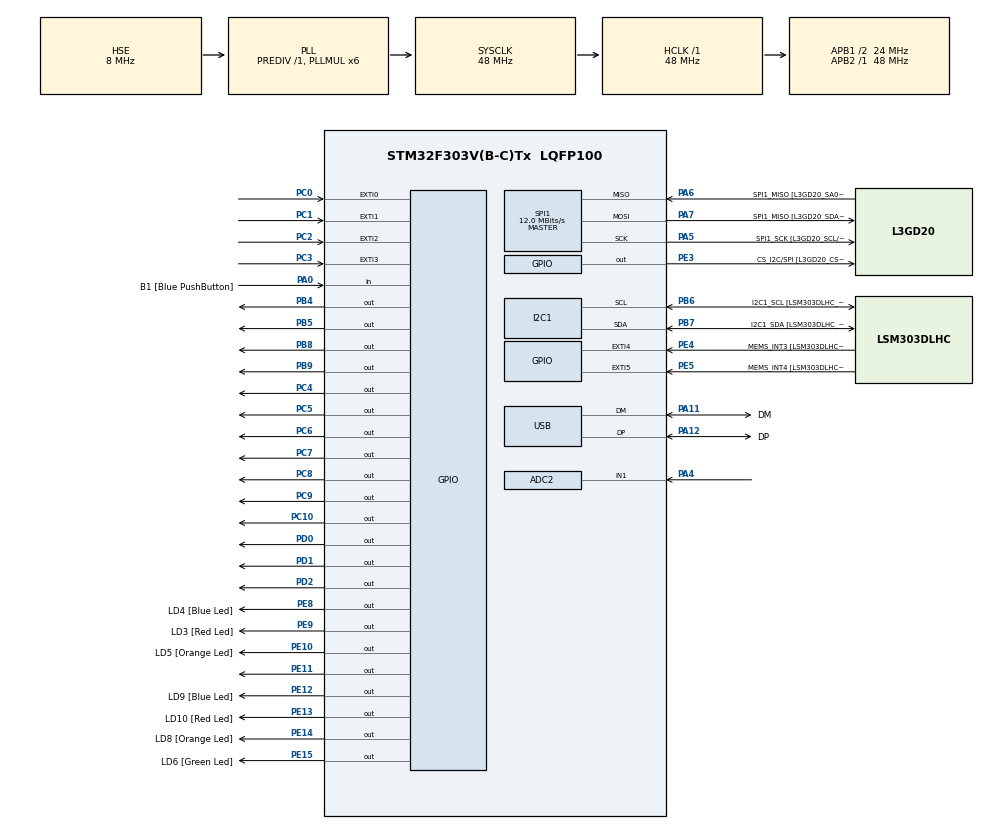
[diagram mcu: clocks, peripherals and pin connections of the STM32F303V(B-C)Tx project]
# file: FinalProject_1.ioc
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ADC2.Channel-0\#ChannelRegularConversion=ADC_CHANNEL_1
ADC2.NbrOfConversionFlag=1
ADC2.Offset-0\#ChannelRegularConversion=0
ADC2.OffsetNumber-0\#ChannelRegularConversion=ADC_OFFSET_NONE
ADC2.Rank-0\#ChannelRegularConversion=1
ADC2.Resolution=ADC_RESOLUTION_6B
ADC2.SamplingTime-0\#ChannelRegularConversion=ADC_SAMPLETIME_601CYCLES_5
ADC2.SamplingTimeOPAMP-0\#ChannelRegularConversion=ADC_SAMPLETIME_19CYCLES_5
I2C1.Timing-I2C=0x2000090E
Mcu.Family=STM32F3
Mcu.Name=STM32F303V(B-C)Tx
Mcu.Package=LQFP100
NVIC.EXTI0_IRQn=true\:1\:0\:true\:false\:true\:true\:true
NVIC.EXTI1_IRQn=true\:1\:0\:true\:false\:true\:true\:true
NVIC.EXTI2_TSC_IRQn=true\:1\:0\:true\:false\:true\:true\:true
NVIC.EXTI3_IRQn=true\:1\:0\:true\:false\:true\:true\:true
NVIC.PriorityGroup=NVIC_PRIORITYGROUP_2
NVIC.TIM2_IRQn=true\:1\:0\:true\:false\:true\:true\:true
NVIC.TIM4_IRQn=true\:1\:0\:true\:false\:true\:true\:true
PA0.GPIO_Label=B1 [Blue PushButton]
PA0.Signal=GPIO_Input
PA11.GPIO_Label=DM
PA11.Mode=Device
PA11.Signal=USB_DM
PA12.GPIO_Label=DP
PA12.Mode=Device
PA12.Signal=USB_DP
PA13.GPIO_Label=SWDIO
PA13.Mode=Serial_Wire
PA13.Signal=SYS_JTMS-SWDIO
PA14.GPIO_Label=SWCLK
PA14.Mode=Serial_Wire
PA14.Signal=SYS_JTCK-SWCLK
PA4.Mode=IN1-Single-Ended
PA4.Signal=ADC2_IN1
PA5.GPIO_Label=SPI1_SCK [L3GD20_SCL/SPC]
PA5.Mode=Full_Duplex_Master
PA5.Signal=SPI1_SCK
PA6.GPIO_Label=SPI1_MISO [L3GD20_SA0/SDO]
PA6.Mode=Full_Duplex_Master
PA6.Signal=SPI1_MISO
PA7.GPIO_Label=SPI1_MISO [L3GD20_SDA/SDI/SDO]
PA7.Mode=Full_Duplex_Master
PA7.Signal=SPI1_MOSI
PB3.GPIO_Label=SWO
PB3.Signal=SYS_JTDO-TRACESWO
PB4.Signal=GPIO_Output
PB5.Signal=GPIO_Output
PB6.GPIO_Label=I2C1_SCL [LSM303DLHC_SCL]
PB6.Mode=I2C
PB6.Signal=I2C1_SCL
PB7.GPIO_Label=I2C1_SDA [LSM303DLHC_SDA]
PB7.Mode=I2C
PB7.Signal=I2C1_SDA
PB8.Signal=GPIO_Output
PB9.Signal=GPIO_Output
PC0.GPIO_PuPd=GPIO_PULLDOWN
PC0.Signal=GPXTI0
PC1.GPIO_PuPd=GPIO_PULLDOWN
PC1.Signal=GPXTI1
PC10.GPIO_Speed=GPIO_SPEED_FREQ_HIGH
PC10.Signal=GPIO_Output
PC14-OSC32_IN.GPIO_Label=OSC32_IN
PC14-OSC32_IN.Signal=RCC_OSC32_IN
PC15-OSC32_OUT.GPIO_Label=OSC32_OUT
PC15-OSC32_OUT.Signal=RCC_OSC32_OUT
PC2.GPIO_PuPd=GPIO_PULLDOWN
PC2.Signal=GPXTI2
PC3.GPIO_PuPd=GPIO_PULLDOWN
PC3.Signal=GPXTI3
PC4.GPIO_Speed=GPIO_SPEED_FREQ_HIGH
PC4.Signal=GPIO_Output
PC5.GPIO_Speed=GPIO_SPEED_FREQ_HIGH
PC5.Signal=GPIO_Output
PC6.Signal=GPIO_Output
PC7.Signal=GPIO_Output
PC8.Signal=GPIO_Output
PC9.Signal=GPIO_Output
PD0.GPIO_Speed=GPIO_SPEED_FREQ_HIGH
PD0.PinState=GPIO_PIN_SET
PD0.Signal=GPIO_Output
PD1.GPIO_Speed=GPIO_SPEED_FREQ_HIGH
PD1.PinState=GPIO_PIN_SET
PD1.Signal=GPIO_Output
PD2.GPIO_Speed=GPIO_SPEED_FREQ_HIGH
PD2.PinState=GPIO_PIN_SET
PD2.Signal=GPIO_Output
PE10.GPIO_Label=LD5 [Orange Led]
PE10.Signal=GPIO_Output
PE11.GPIO_Speed=GPIO_SPEED_FREQ_HIGH
PE11.PinState=GPIO_PIN_SET
PE11.Signal=GPIO_Output
PE12.GPIO_Label=LD9 [Blue Led]
PE12.Signal=GPIO_Output
PE13.GPIO_Label=LD10 [Red Led]
PE13.Signal=GPIO_Output
PE14.GPIO_Label=LD8 [Orange Led]
PE14.Signal=GPIO_Output
PE15.GPIO_Label=LD6 [Green Led]
PE15.Signal=GPIO_Output
PE3.GPIO_Label=CS_I2C/SPI [L3GD20_CS_I2C/SPI]
PE3.Signal=GPIO_Output
PE4.GPIO_Label=MEMS_INT3 [LSM303DLHC_INT1]
PE4.GPIO_ModeDefaultEXTI=GPIO_MODE_EVT_RISING
PE4.Signal=GPXTI4
PE5.GPIO_Label=MEMS_INT4 [LSM303DLHC_INT2]
PE5.GPIO_ModeDefaultEXTI=GPIO_MODE_EVT_RISING
PE5.Signal=GPXTI5
PE8.GPIO_Label=LD4 [Blue Led]
PE8.Signal=GPIO_Output
PE9.GPIO_Label=LD3 [Red Led]
PE9.Signal=GPIO_Output
PF0-OSC_IN.GPIO_Label=OSC_IN
PF0-OSC_IN.Mode=HSE-External-Clock-Source
PF0-OSC_IN.Signal=RCC_OSC_IN
PF1-OSC_OUT.GPIO_Label=OSC_OUT
PF1-OSC_OUT.Signal=RCC_OSC_OUT
ProjectManager.HeapSize=0x200
ProjectManager.StackSize=0x400
ProjectManager.TargetToolchain=STM32CubeIDE
RCC.AHBFreq_Value=48000000
RCC.APB1CLKDivider=RCC_HCLK_DIV2
RCC.APB1Freq_Value=24000000
RCC.APB1TimFreq_Value=48000000
RCC.APB2Freq_Value=48000000
RCC.APB2TimFreq_Value=48000000
RCC.CortexFreq_Value=48000000
RCC.HCLKFreq_Value=48000000
RCC.HSE_VALUE=8000000
RCC.HSI_VALUE=8000000
RCC.LSE_VALUE=32768
RCC.PLLMUL=RCC_PLL_MUL6
RCC.SYSCLKFreq_VALUE=48000000
RCC.SYSCLKSourceVirtual=RCC_SYSCLKSOURCE_PLLCLK
RCC.USBFreq_Value=48000000
SPI1.BaudRatePrescaler=SPI_BAUDRATEPRESCALER_4
SPI1.BaudRatePrescaler-Full_Duplex_Master=SPI_BAUDRATEPRESCALER_2
SPI1.CalculateBaudRate=12.0 MBits/s
SPI1.CalculateBaudRate-Full_Duplex_Master=24.0 MBits/s
SPI1.Direction=SPI_DIRECTION_2LINES
SPI1.Mode=SPI_MODE_MASTER
SPI1.Mode-Full_Duplex_Master=SPI_MODE_MASTER
SPI1.VirtualType=VM_MASTER
TIM2.Period=1000000
TIM2.Prescaler=96
TIM4.Period=1000
TIM4.Prescaler=1199
VP_TIM2_VS_ClockSourceINT.Mode=Internal
VP_TIM4_VS_ClockSourceINT.Mode=Internal
board=STM32F3DISCOVERY

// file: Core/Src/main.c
/* USER CODE BEGIN Header */
/**
  ******************************************************************************
  * @file           : main.c
  * @brief          : Main program body
  ******************************************************************************
  * @attention
  *
  * <h2><center>&copy; Copyright (c) 2021 STMicroelectronics.
  * All rights reserved.</center></h2>
  *
  * This software component is licensed by ST under BSD 3-Clause license,
  * the "License"; You may not use this file except in compliance with the
  * License. You may obtain a copy of the License at:
  *                        opensource.org/licenses/BSD-3-Clause
  *
  ******************************************************************************
  */
/* USER CODE END Header */
#include "main.h"

/* USER CODE BEGIN Includes */
#include "LiquidCrystal.h"
/* USER CODE END Includes */

/* USER CODE BEGIN PTD */
 int mario_col=2;
typedef unsigned char byte;

byte ground[] = {
  0x1F,
  0x1F,
  0x1F,
  0x1F,
  0x1F,
  0x1F,
  0x1F,
  0x1F
};

byte tube[] = {
  0x1F,
  0x1F,
  0x1F,
  0x0E,
  0x0E,
  0x0E,
  0x0E,
  0x0E
};

byte coin[] = {
		  0x00,
		  0x0E,
		  0x11,
		  0x11,
		  0x11,
		  0x11,
		  0x0E,
		  0x00
};

byte hole[] = {
  0x00,
  0x00,
  0x00,
  0x00,
  0x00,
  0x00,
  0x00,
  0x00
};

byte mario[] = {
  0x00,
  0x0E,
  0x1F,
  0x0E,
  0x0E,
  0x1F,
  0x1F,
  0x0A
};

byte startsign[] = {
  0x1F,
  0x1F,
  0x00,
  0x1F,
  0x1F,
  0x00,
  0x1F,
  0x1F
};

byte blade[] = {
		  0x18,
		  0x1C,
		  0x1E,
		  0x1F,
		  0x1F,
		  0x1E,
		  0x1C,
		  0x18
};

char * main_field [4][60] = {
			 {"B","N","C","N","N","N","N","N","N","N","N","C","N","N","C","N","N","N","N","N","N","C","N","N","N","N","N","N","N","N","C","N","N","C","N","N","N","N","N","N","C","N","N","N","N","N","N","N","N","C","N","N","C","N","N","N","N","N","N","N"},
			 {"B","N","N","N","N","N","C","N","N","N","N","N","N","N","N","N","N","N","N","N","N","N","N","N","N","C","N","N","N","N","N","N","N","N","N","N","N","N","N","N","N","N","N","N","C","N","N","N","N","N","N","N","N","N","N","N","N","N","N","N"},
			 {"B","N","N","N","N","N","N","N","N","T","N","N","N","N","N","N","N","N","N","N","N","N","N","N","N","N","T","N","N","N","T","N","N","N","N","N","N","N","T","N","N","N","N","N","N","N","T","N","N","N","N","N","N","N","N","N","N","T","N","N"},
			 {"G","G","G","G","G","H","G","G","G","G","G","G","G","H","G","G","G","G","G","G","G","H","G","G","G","G","G","G","G","G","G","G","G","G","G","G","G","G","G","G","G","G","G","G","G","G","G","G","G","G","G","G","G","G","G","G","G","G","G","G"}
	};

char * field [4][60] = {
		 {"B","N","C","N","N","N","N","N","N","N","N","C","N","N","C","N","N","N","N","N","N","C","N","N","N","N","N","N","N","N","C","N","N","C","N","N","N","N","N","N","C","N","N","N","N","N","N","N","N","C","N","N","C","N","N","N","N","N","N","N"},
					 {"B","N","N","N","N","N","C","N","N","N","N","N","N","N","N","N","N","N","N","N","N","N","N","N","N","C","N","N","N","N","N","N","N","N","N","N","N","N","N","N","N","N","N","N","C","N","N","N","N","N","N","N","N","N","N","N","N","N","N","N"},
					 {"B","N","N","N","N","N","N","N","N","T","N","N","N","N","N","N","N","N","N","N","N","N","N","N","N","N","T","N","N","N","T","N","N","N","N","N","N","N","T","N","N","N","N","N","N","N","T","N","N","N","N","N","N","N","N","N","N","T","N","N"},
					 {"G","G","G","G","G","H","G","G","G","G","G","G","G","H","G","G","G","G","G","G","G","H","G","G","G","G","G","G","G","G","G","G","G","G","G","G","G","G","G","G","G","G","G","G","G","G","G","G","G","G","G","G","G","G","G","G","G","G","G","G"}

	};

/* USER CODE END PTD */

ADC_HandleTypeDef hadc2;

I2C_HandleTypeDef hi2c1;

SPI_HandleTypeDef hspi1;

TIM_HandleTypeDef htim2;
TIM_HandleTypeDef htim4;

PCD_HandleTypeDef hpcd_USB_FS;

void SystemClock_Config(void);
static void MX_GPIO_Init(void);
static void MX_I2C1_Init(void);
static void MX_SPI1_Init(void);
static void MX_USB_PCD_Init(void);
static void MX_ADC2_Init(void);
static void MX_TIM2_Init(void);
static void MX_TIM4_Init(void);

int main(void)
{
  /* USER CODE BEGIN 1 */

//HAL_GPIO_WritePin(GPIOD, GPIO_PIN_0, 1);

  /* USER CODE END 1 */

  /* MCU Configuration--------------------------------------------------------*/

  /* Reset of all peripherals, Initializes the Flash interface and the Systick. */
  HAL_Init();

  /* USER CODE BEGIN Init */
  LiquidCrystal(GPIOD, GPIO_PIN_8,GPIO_PIN_9,GPIO_PIN_10, GPIO_PIN_11, GPIO_PIN_12, GPIO_PIN_13, GPIO_PIN_14);

  begin(20, 4);

  createChar(0, ground);
  createChar(1, mario);
  createChar(2, hole);
  createChar(3, tube);
  createChar(4, coin);
  createChar(5, startsign);
  createChar(6, blade);

  for(int i= 0; i<5 ; i++){
	  setCursor(i,0);
	   write(5);
  }

  setCursor(0, 1);
  print("MARIO");
  setCursor(0,2);
  print("RUN");

  for(int i= 0; i<5 ; i++){
	  setCursor(i,3);
	   write(5);
  }

  setCursor(7, 0);
  print("PRESS A");
  setCursor(7, 1);
  print("TO START");
  setCursor(7,2);
  print("THE GAME");

  /* USER CODE END Init */

  /* Configure the system clock */
  SystemClock_Config();

  /* Initialize all configured peripherals */
  MX_GPIO_Init();
  MX_I2C1_Init();
  MX_SPI1_Init();
  MX_USB_PCD_Init();
  MX_ADC2_Init();
  MX_TIM2_Init();
  MX_TIM4_Init();
  /* USER CODE BEGIN 2 */
  HAL_TIM_Base_Start_IT(&htim2);
  HAL_TIM_Base_Start_IT(&htim4);
  HAL_ADC_Start_IT(&hadc2);
  HAL_GPIO_WritePin(GPIOC, GPIO_PIN_6, GPIO_PIN_SET);
  HAL_GPIO_WritePin(GPIOC, GPIO_PIN_7, GPIO_PIN_SET);
  HAL_GPIO_WritePin(GPIOC, GPIO_PIN_8, GPIO_PIN_SET);
  HAL_GPIO_WritePin(GPIOC, GPIO_PIN_9, GPIO_PIN_SET);

  HAL_GPIO_WritePin(GPIOC, GPIO_PIN_5, 1);
  HAL_GPIO_WritePin(GPIOC, GPIO_PIN_4, 1);
  HAL_GPIO_WritePin(GPIOC, GPIO_PIN_10, 1);

  /* USER CODE END 2 */

  /* Infinite loop */
  while (1)
  {

  }
}

void SystemClock_Config(void)
{
  RCC_OscInitTypeDef RCC_OscInitStruct = {0};
  RCC_ClkInitTypeDef RCC_ClkInitStruct = {0};
  RCC_PeriphCLKInitTypeDef PeriphClkInit = {0};

  /** Initializes the RCC Oscillators according to the specified parameters
  * in the RCC_OscInitTypeDef structure.
  */
  RCC_OscInitStruct.OscillatorType = RCC_OSCILLATORTYPE_HSI|RCC_OSCILLATORTYPE_HSE;
  RCC_OscInitStruct.HSEState = RCC_HSE_BYPASS;
  RCC_OscInitStruct.HSEPredivValue = RCC_HSE_PREDIV_DIV1;
  RCC_OscInitStruct.HSIState = RCC_HSI_ON;
  RCC_OscInitStruct.HSICalibrationValue = RCC_HSICALIBRATION_DEFAULT;
  RCC_OscInitStruct.PLL.PLLState = RCC_PLL_ON;
  RCC_OscInitStruct.PLL.PLLSource = RCC_PLLSOURCE_HSE;
  RCC_OscInitStruct.PLL.PLLMUL = RCC_PLL_MUL6;
  if (HAL_RCC_OscConfig(&RCC_OscInitStruct) != HAL_OK)
  {
    Error_Handler();
  }
  /** Initializes the CPU, AHB and APB buses clocks
  */
  RCC_ClkInitStruct.ClockType = RCC_CLOCKTYPE_HCLK|RCC_CLOCKTYPE_SYSCLK
                              |RCC_CLOCKTYPE_PCLK1|RCC_CLOCKTYPE_PCLK2;
  RCC_ClkInitStruct.SYSCLKSource = RCC_SYSCLKSOURCE_PLLCLK;
  RCC_ClkInitStruct.AHBCLKDivider = RCC_SYSCLK_DIV1;
  RCC_ClkInitStruct.APB1CLKDivider = RCC_HCLK_DIV2;
  RCC_ClkInitStruct.APB2CLKDivider = RCC_HCLK_DIV1;

  if (HAL_RCC_ClockConfig(&RCC_ClkInitStruct, FLASH_LATENCY_1) != HAL_OK)
  {
    Error_Handler();
  }
  PeriphClkInit.PeriphClockSelection = RCC_PERIPHCLK_USB|RCC_PERIPHCLK_I2C1
                              |RCC_PERIPHCLK_ADC12;
  PeriphClkInit.Adc12ClockSelection = RCC_ADC12PLLCLK_DIV1;
  PeriphClkInit.I2c1ClockSelection = RCC_I2C1CLKSOURCE_HSI;
  PeriphClkInit.USBClockSelection = RCC_USBCLKSOURCE_PLL;
  if (HAL_RCCEx_PeriphCLKConfig(&PeriphClkInit) != HAL_OK)
  {
    Error_Handler();
  }
}

static void MX_ADC2_Init(void)
{

  ADC_ChannelConfTypeDef sConfig = {0};

  /** Common config
  */
  hadc2.Instance = ADC2;
  hadc2.Init.ClockPrescaler = ADC_CLOCK_ASYNC_DIV1;
  hadc2.Init.Resolution = ADC_RESOLUTION_6B;
  hadc2.Init.ScanConvMode = ADC_SCAN_DISABLE;
  hadc2.Init.ContinuousConvMode = DISABLE;
  hadc2.Init.DiscontinuousConvMode = DISABLE;
  hadc2.Init.ExternalTrigConvEdge = ADC_EXTERNALTRIGCONVEDGE_NONE;
  hadc2.Init.ExternalTrigConv = ADC_SOFTWARE_START;
  hadc2.Init.DataAlign = ADC_DATAALIGN_RIGHT;
  hadc2.Init.NbrOfConversion = 1;
  hadc2.Init.DMAContinuousRequests = DISABLE;
  hadc2.Init.EOCSelection = ADC_EOC_SINGLE_CONV;
  hadc2.Init.LowPowerAutoWait = DISABLE;
  hadc2.Init.Overrun = ADC_OVR_DATA_OVERWRITTEN;
  if (HAL_ADC_Init(&hadc2) != HAL_OK)
  {
    Error_Handler();
  }
  /** Configure Regular Channel
  */
  sConfig.Channel = ADC_CHANNEL_1;
  sConfig.Rank = ADC_REGULAR_RANK_1;
  sConfig.SingleDiff = ADC_SINGLE_ENDED;
  sConfig.SamplingTime = ADC_SAMPLETIME_601CYCLES_5;
  sConfig.OffsetNumber = ADC_OFFSET_NONE;
  sConfig.Offset = 0;
  if (HAL_ADC_ConfigChannel(&hadc2, &sConfig) != HAL_OK)
  {
    Error_Handler();
  }

}

static void MX_I2C1_Init(void)
{

  hi2c1.Instance = I2C1;
  hi2c1.Init.Timing = 0x2000090E;
  hi2c1.Init.OwnAddress1 = 0;
  hi2c1.Init.AddressingMode = I2C_ADDRESSINGMODE_7BIT;
  hi2c1.Init.DualAddressMode = I2C_DUALADDRESS_DISABLE;
  hi2c1.Init.OwnAddress2 = 0;
  hi2c1.Init.OwnAddress2Masks = I2C_OA2_NOMASK;
  hi2c1.Init.GeneralCallMode = I2C_GENERALCALL_DISABLE;
  hi2c1.Init.NoStretchMode = I2C_NOSTRETCH_DISABLE;
  if (HAL_I2C_Init(&hi2c1) != HAL_OK)
  {
    Error_Handler();
  }
  /** Configure Analogue filter
  */
  if (HAL_I2CEx_ConfigAnalogFilter(&hi2c1, I2C_ANALOGFILTER_ENABLE) != HAL_OK)
  {
    Error_Handler();
  }
  /** Configure Digital filter
  */
  if (HAL_I2CEx_ConfigDigitalFilter(&hi2c1, 0) != HAL_OK)
  {
    Error_Handler();
  }

}

static void MX_SPI1_Init(void)
{

  /* SPI1 parameter configuration*/
  hspi1.Instance = SPI1;
  hspi1.Init.Mode = SPI_MODE_MASTER;
  hspi1.Init.Direction = SPI_DIRECTION_2LINES;
  hspi1.Init.DataSize = SPI_DATASIZE_4BIT;
  hspi1.Init.CLKPolarity = SPI_POLARITY_LOW;
  hspi1.Init.CLKPhase = SPI_PHASE_1EDGE;
  hspi1.Init.NSS = SPI_NSS_SOFT;
  hspi1.Init.BaudRatePrescaler = SPI_BAUDRATEPRESCALER_4;
  hspi1.Init.FirstBit = SPI_FIRSTBIT_MSB;
  hspi1.Init.TIMode = SPI_TIMODE_DISABLE;
  hspi1.Init.CRCCalculation = SPI_CRCCALCULATION_DISABLE;
  hspi1.Init.CRCPolynomial = 7;
  hspi1.Init.CRCLength = SPI_CRC_LENGTH_DATASIZE;
  hspi1.Init.NSSPMode = SPI_NSS_PULSE_ENABLE;
  if (HAL_SPI_Init(&hspi1) != HAL_OK)
  {
    Error_Handler();
  }

}

static void MX_TIM2_Init(void)
{

  TIM_ClockConfigTypeDef sClockSourceConfig = {0};
  TIM_MasterConfigTypeDef sMasterConfig = {0};

  htim2.Instance = TIM2;
  htim2.Init.Prescaler = 96;
  htim2.Init.CounterMode = TIM_COUNTERMODE_UP;
  htim2.Init.Period = 1000000;
  htim2.Init.ClockDivision = TIM_CLOCKDIVISION_DIV1;
  htim2.Init.AutoReloadPreload = TIM_AUTORELOAD_PRELOAD_DISABLE;
  if (HAL_TIM_Base_Init(&htim2) != HAL_OK)
  {
    Error_Handler();
  }
  sClockSourceConfig.ClockSource = TIM_CLOCKSOURCE_INTERNAL;
  if (HAL_TIM_ConfigClockSource(&htim2, &sClockSourceConfig) != HAL_OK)
  {
    Error_Handler();
  }
  sMasterConfig.MasterOutputTrigger = TIM_TRGO_RESET;
  sMasterConfig.MasterSlaveMode = TIM_MASTERSLAVEMODE_DISABLE;
  if (HAL_TIMEx_MasterConfigSynchronization(&htim2, &sMasterConfig) != HAL_OK)
  {
    Error_Handler();
  }

}

static void MX_TIM4_Init(void)
{

  TIM_ClockConfigTypeDef sClockSourceConfig = {0};
  TIM_MasterConfigTypeDef sMasterConfig = {0};

  htim4.Instance = TIM4;
  htim4.Init.Prescaler = 1199;
  htim4.Init.CounterMode = TIM_COUNTERMODE_UP;
  htim4.Init.Period = 1000;
  htim4.Init.ClockDivision = TIM_CLOCKDIVISION_DIV1;
  htim4.Init.AutoReloadPreload = TIM_AUTORELOAD_PRELOAD_DISABLE;
  if (HAL_TIM_Base_Init(&htim4) != HAL_OK)
  {
    Error_Handler();
  }
  sClockSourceConfig.ClockSource = TIM_CLOCKSOURCE_INTERNAL;
  if (HAL_TIM_ConfigClockSource(&htim4, &sClockSourceConfig) != HAL_OK)
  {
    Error_Handler();
  }
  sMasterConfig.MasterOutputTrigger = TIM_TRGO_RESET;
  sMasterConfig.MasterSlaveMode = TIM_MASTERSLAVEMODE_DISABLE;
  if (HAL_TIMEx_MasterConfigSynchronization(&htim4, &sMasterConfig) != HAL_OK)
  {
    Error_Handler();
  }

}

static void MX_USB_PCD_Init(void)
{

  hpcd_USB_FS.Instance = USB;
  hpcd_USB_FS.Init.dev_endpoints = 8;
  hpcd_USB_FS.Init.speed = PCD_SPEED_FULL;
  hpcd_USB_FS.Init.phy_itface = PCD_PHY_EMBEDDED;
  hpcd_USB_FS.Init.low_power_enable = DISABLE;
  hpcd_USB_FS.Init.battery_charging_enable = DISABLE;
  if (HAL_PCD_Init(&hpcd_USB_FS) != HAL_OK)
  {
    Error_Handler();
  }

}

static void MX_GPIO_Init(void)
{
  GPIO_InitTypeDef GPIO_InitStruct = {0};

  /* GPIO Ports Clock Enable */
  __HAL_RCC_GPIOE_CLK_ENABLE();
  __HAL_RCC_GPIOC_CLK_ENABLE();
  __HAL_RCC_GPIOF_CLK_ENABLE();
  __HAL_RCC_GPIOA_CLK_ENABLE();
  __HAL_RCC_GPIOD_CLK_ENABLE();
  __HAL_RCC_GPIOB_CLK_ENABLE();

  /*Configure GPIO pin Output Level */
  HAL_GPIO_WritePin(GPIOE, CS_I2C_SPI_Pin|LD4_Pin|LD3_Pin|LD5_Pin
                          |LD9_Pin|LD10_Pin|LD8_Pin|LD6_Pin, GPIO_PIN_RESET);

  /*Configure GPIO pin Output Level */
  HAL_GPIO_WritePin(GPIOC, GPIO_PIN_4|GPIO_PIN_5|GPIO_PIN_6|GPIO_PIN_7
                          |GPIO_PIN_8|GPIO_PIN_9|GPIO_PIN_10, GPIO_PIN_RESET);

  /*Configure GPIO pin Output Level */
  HAL_GPIO_WritePin(GPIOE, GPIO_PIN_11, GPIO_PIN_SET);

  /*Configure GPIO pin Output Level */
  HAL_GPIO_WritePin(GPIOD, GPIO_PIN_0|GPIO_PIN_1|GPIO_PIN_2, GPIO_PIN_SET);

  /*Configure GPIO pin Output Level */
  HAL_GPIO_WritePin(GPIOB, GPIO_PIN_4|GPIO_PIN_5|GPIO_PIN_8|GPIO_PIN_9, GPIO_PIN_RESET);

  /*Configure GPIO pins : CS_I2C_SPI_Pin LD4_Pin LD3_Pin LD5_Pin
                           LD9_Pin LD10_Pin LD8_Pin LD6_Pin */
  GPIO_InitStruct.Pin = CS_I2C_SPI_Pin|LD4_Pin|LD3_Pin|LD5_Pin
                          |LD9_Pin|LD10_Pin|LD8_Pin|LD6_Pin;
  GPIO_InitStruct.Mode = GPIO_MODE_OUTPUT_PP;
  GPIO_InitStruct.Pull = GPIO_NOPULL;
  GPIO_InitStruct.Speed = GPIO_SPEED_FREQ_LOW;
  HAL_GPIO_Init(GPIOE, &GPIO_InitStruct);

  /*Configure GPIO pins : MEMS_INT3_Pin MEMS_INT4_Pin */
  GPIO_InitStruct.Pin = MEMS_INT3_Pin|MEMS_INT4_Pin;
  GPIO_InitStruct.Mode = GPIO_MODE_EVT_RISING;
  GPIO_InitStruct.Pull = GPIO_NOPULL;
  HAL_GPIO_Init(GPIOE, &GPIO_InitStruct);

  /*Configure GPIO pins : PC0 PC1 PC2 PC3 */
  GPIO_InitStruct.Pin = GPIO_PIN_0|GPIO_PIN_1|GPIO_PIN_2|GPIO_PIN_3;
  GPIO_InitStruct.Mode = GPIO_MODE_IT_RISING;
  GPIO_InitStruct.Pull = GPIO_PULLDOWN;
  HAL_GPIO_Init(GPIOC, &GPIO_InitStruct);

  /*Configure GPIO pin : B1_Pin */
  GPIO_InitStruct.Pin = B1_Pin;
  GPIO_InitStruct.Mode = GPIO_MODE_INPUT;
  GPIO_InitStruct.Pull = GPIO_NOPULL;
  HAL_GPIO_Init(B1_GPIO_Port, &GPIO_InitStruct);

  /*Configure GPIO pins : PC4 PC5 PC10 */
  GPIO_InitStruct.Pin = GPIO_PIN_4|GPIO_PIN_5|GPIO_PIN_10;
  GPIO_InitStruct.Mode = GPIO_MODE_OUTPUT_PP;
  GPIO_InitStruct.Pull = GPIO_NOPULL;
  GPIO_InitStruct.Speed = GPIO_SPEED_FREQ_HIGH;
  HAL_GPIO_Init(GPIOC, &GPIO_InitStruct);

  /*Configure GPIO pin : PE11 */
  GPIO_InitStruct.Pin = GPIO_PIN_11;
  GPIO_InitStruct.Mode = GPIO_MODE_OUTPUT_PP;
  GPIO_InitStruct.Pull = GPIO_NOPULL;
  GPIO_InitStruct.Speed = GPIO_SPEED_FREQ_HIGH;
  HAL_GPIO_Init(GPIOE, &GPIO_InitStruct);

  /*Configure GPIO pins : PC6 PC7 PC8 PC9 */
  GPIO_InitStruct.Pin = GPIO_PIN_6|GPIO_PIN_7|GPIO_PIN_8|GPIO_PIN_9;
  GPIO_InitStruct.Mode = GPIO_MODE_OUTPUT_PP;
  GPIO_InitStruct.Pull = GPIO_NOPULL;
  GPIO_InitStruct.Speed = GPIO_SPEED_FREQ_LOW;
  HAL_GPIO_Init(GPIOC, &GPIO_InitStruct);

  /*Configure GPIO pins : PD0 PD1 PD2 */
  GPIO_InitStruct.Pin = GPIO_PIN_0|GPIO_PIN_1|GPIO_PIN_2;
  GPIO_InitStruct.Mode = GPIO_MODE_OUTPUT_PP;
  GPIO_InitStruct.Pull = GPIO_NOPULL;
  GPIO_InitStruct.Speed = GPIO_SPEED_FREQ_HIGH;
  HAL_GPIO_Init(GPIOD, &GPIO_InitStruct);

  /*Configure GPIO pins : PB4 PB5 PB8 PB9 */
  GPIO_InitStruct.Pin = GPIO_PIN_4|GPIO_PIN_5|GPIO_PIN_8|GPIO_PIN_9;
  GPIO_InitStruct.Mode = GPIO_MODE_OUTPUT_PP;
  GPIO_InitStruct.Pull = GPIO_NOPULL;
  GPIO_InitStruct.Speed = GPIO_SPEED_FREQ_LOW;
  HAL_GPIO_Init(GPIOB, &GPIO_InitStruct);

  /* EXTI interrupt init*/
  HAL_NVIC_SetPriority(EXTI0_IRQn, 1, 0);
  HAL_NVIC_EnableIRQ(EXTI0_IRQn);

  HAL_NVIC_SetPriority(EXTI1_IRQn, 1, 0);
  HAL_NVIC_EnableIRQ(EXTI1_IRQn);

  HAL_NVIC_SetPriority(EXTI2_TSC_IRQn, 1, 0);
  HAL_NVIC_EnableIRQ(EXTI2_TSC_IRQn);

  HAL_NVIC_SetPriority(EXTI3_IRQn, 1, 0);
  HAL_NVIC_EnableIRQ(EXTI3_IRQn);

}

void Error_Handler(void)
{
  __disable_irq();
  while (1)
  {
  }
}

/************************ (C) COPYRIGHT STMicroelectronics *****END OF FILE****/
